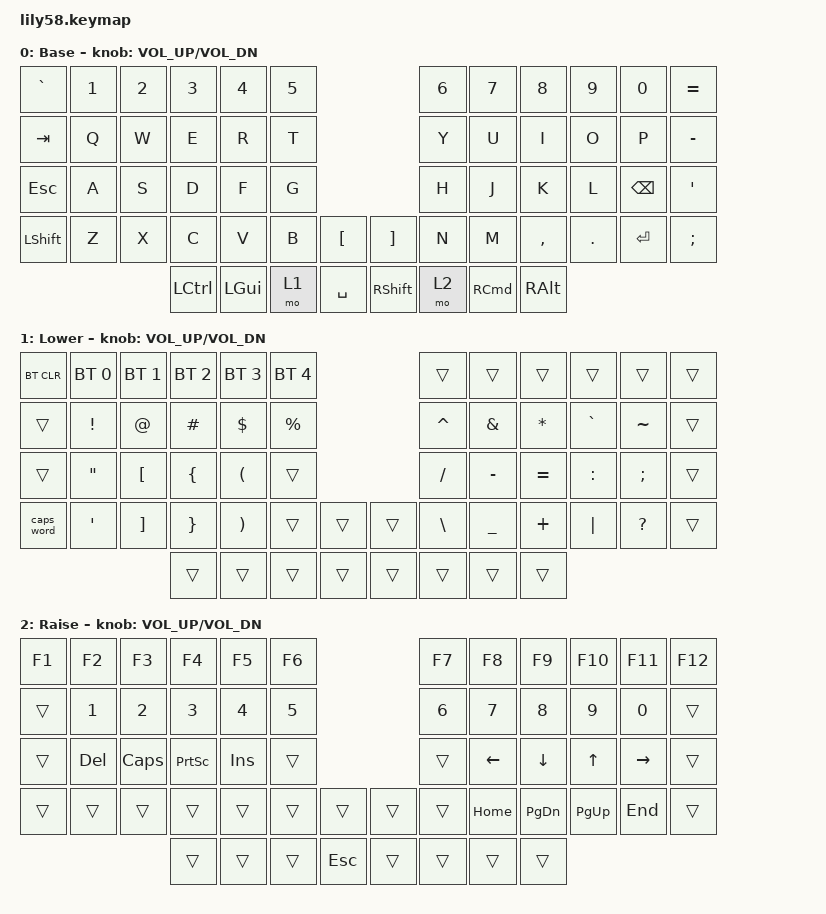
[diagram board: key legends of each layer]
/*
 * Copyright (c) 2020 The ZMK Contributors
 *
 * SPDX-License-Identifier: MIT
 */

#include <behaviors.dtsi>
#include <dt-bindings/zmk/bt.h>
#include <dt-bindings/zmk/keys.h>

/ {
    keymap {
        compatible = "zmk,keymap";

        default_layer {
            // ------------------------------------------------------------------------------------------------------------
            // |  ESC  |  1  |  2  |  3   |  4   |  5   |                   |  6   |  7    |  8    |  9   |   0   |   `   |
            // |  TAB  |  Q  |  W  |  E   |  R   |  T   |                   |  Y   |  U    |  I    |  O   |   P   |   -   |
            // |  CTRL |  A  |  S  |  D   |  F   |  G   |                   |  H   |  J    |  K    |  L   |   ;   |   '   |
            // | SHIFT |  Z  |  X  |  C   |  V   |  B   |   "["  |  |  "]"  |  N   |  M    |  ,    |  .   |   /   | SHIFT |
            //                     | ALT  | GUI  | LOWER|  SPACE |  | ENTER | RAISE| BSPC  | GUI   |

            label = "Base";
            bindings = <
&kp GRAVE  &kp N1  &kp N2  &kp N3     &kp N4    &kp N5                           &kp N6  &kp N7             &kp N8     &kp N9   &kp N0         &kp EQUAL
&kp TAB    &kp Q   &kp W   &kp E      &kp R     &kp T                            &kp Y   &kp U              &kp I      &kp O    &kp P          &kp MINUS
&kp ESC    &kp A   &kp S   &kp D      &kp F     &kp G                            &kp H   &kp J              &kp K      &kp L    &kp BACKSPACE  &kp SQT
&kp LSHFT  &kp Z   &kp X   &kp C      &kp V     &kp B   &kp LBKT     &kp RBKT    &kp N   &kp M              &kp COMMA  &kp DOT  &kp ENTER      &kp SEMICOLON
                           &kp LCTRL  &kp LGUI  &mo 1   &kp SPACE    &kp RSHIFT  &mo 2   &kp RIGHT_COMMAND  &kp RALT
            >;

            sensor-bindings = <&inc_dec_kp C_VOL_UP C_VOL_DN>;
        };

        lower_layer {
            // ------------------------------------------------------------------------------------------------------------
            // | BTCLR | BT1 | BT2 |  BT3 |  BT4 |  BT5 |                   |      |       |       |      |       |       |
            // |  F1   |  F2 |  F3 |  F4  |  F5  |  F6  |                   |  F7  |  F8   |  F9   |  F10 |  F11  |  F12  |
            // |   `   |  !  |  @  |  #   |  $   |  %   |                   |  ^   |  &    |  *    |  (   |   )   |   ~   |
            // |       |     |     |      |      |      |        |  |       |      |  _    |  +    |  {   |   }   |  "|"  |
            //                     |      |      |      |        |  |       |      |       |       |

            label = "Lower";
            bindings = <
&bt BT_CLR  &bt BT_SEL 0  &bt BT_SEL 1  &bt BT_SEL 2  &bt BT_SEL 3  &bt BT_SEL 4                    &trans     &trans     &trans     &trans     &trans     &trans
&trans      &kp EXCL      &kp AT        &kp HASH      &kp DLLR      &kp PRCNT                       &kp CARET  &kp AMPS   &kp ASTRK  &kp GRAVE  &kp TILDE  &trans
&trans      &kp DQT       &kp LBKT      &kp LBRC      &kp LPAR      &trans                          &kp FSLH   &kp MINUS  &kp EQUAL  &kp COLON  &kp SEMI   &trans
&caps_word  &kp SQT       &kp RBKT      &kp RBRC      &kp RPAR      &trans        &trans    &trans  &kp BSLH   &kp UNDER  &kp PLUS   &kp PIPE   &kp QMARK  &trans
                                        &trans        &trans        &trans        &trans    &trans  &trans     &trans     &trans
            >;

            sensor-bindings = <&inc_dec_kp C_VOL_UP C_VOL_DN>;
        };

        raise_layer {
            // ------------------------------------------------------------------------------------------------------------
            // |       |     |     |      |      |      |                   |      |       |       |      |       |       |
            // |   `   |  1  |  2  |  3   |  4   |  5   |                   |  6   |   7   |   8   |  9   |   0   |       |
            // |   F1  |  F2 |  F3 |  F4  |  F5  |  F6  |                   |      |   <-  |   v   |  ^   |  ->   |       |
            // |   F7  |  F8 |  F9 |  F10 |  F11 |  F12 |        |  |       |  +   |   -   |   =   |  [   |   ]   |   \   |
            //                     |      |      |      |        |  |       |      |       |       |

            label = "Raise";
            bindings = <
&kp F1  &kp F2   &kp F3        &kp F4           &kp F5      &kp F6                     &kp F7  &kp F8    &kp F9     &kp F10    &kp F11    &kp F12
&trans  &kp N1   &kp N2        &kp N3           &kp N4      &kp N5                     &kp N6  &kp N7    &kp N8     &kp N9     &kp N0     &trans
&trans  &kp DEL  &kp CAPSLOCK  &kp PRINTSCREEN  &kp INSERT  &trans                     &trans  &kp LEFT  &kp DOWN   &kp UP     &kp RIGHT  &trans
&trans  &trans   &trans        &trans           &trans      &trans  &trans     &trans  &trans  &kp HOME  &kp PG_DN  &kp PG_UP  &kp END    &trans
                               &trans           &trans      &trans  &kp ESC    &trans  &trans  &trans    &trans
            >;

            sensor-bindings = <&inc_dec_kp C_VOL_UP C_VOL_DN>;
        };
    };
};
